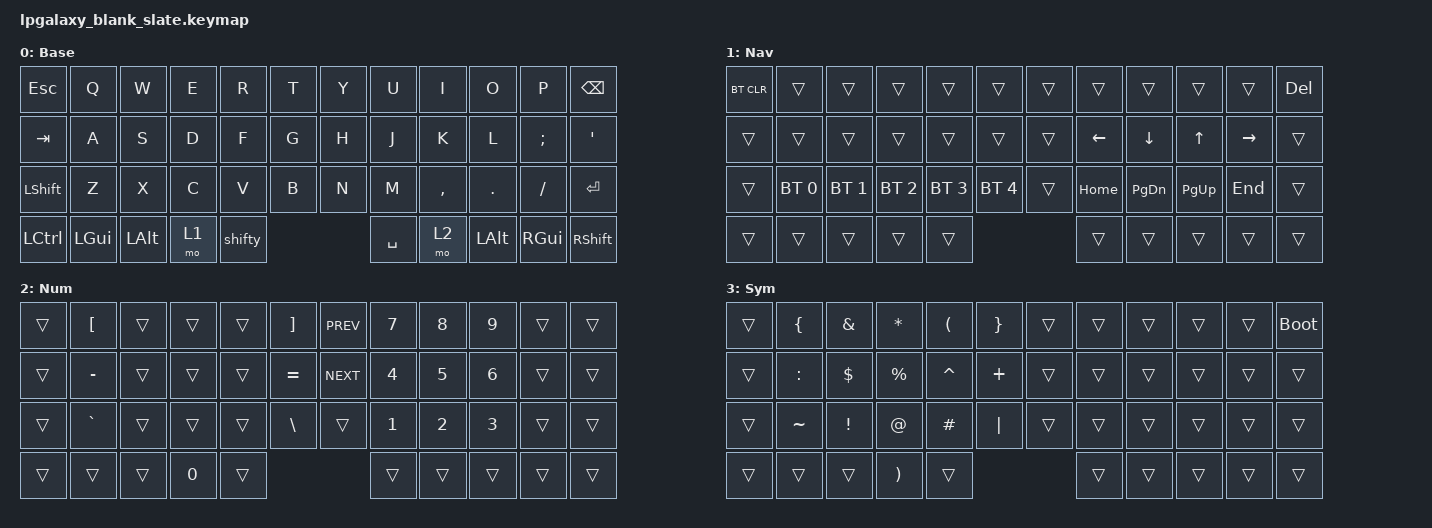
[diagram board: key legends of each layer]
/*
 * Copyright (c) 2022 Pete Johanson
 *
 * SPDX-License-Identifier: MIT
 */

#include <behaviors.dtsi>
#include <dt-bindings/zmk/keys.h>
#include <dt-bindings/zmk/bt.h>
#include <dt-bindings/zmk/outputs.h>

// Using layer taps on thumbs, having quick tap as well helps w/ repeating space/backspace
&lt { quick_tap_ms = <200>; };

/ {
    chosen {
       zmk,matrix_transform =
                       &dual_2u_transform;
    };

    macros {
      ZMK_MACRO(thumbs_up,
		wait-ms = <1>;
		tap-ms = <5>;
                bindings = <&kp PLUS &kp COLON &kp PLUS &kp N1 &kp COLON &kp RET>;
		)
    };
    
    tap_dances {
    	shifty: shift_caps_word {
		compatible = "zmk,behavior-tap-dance";
		label = "TD_SHIFTY";
		#binding-cells = <0>;
		tapping-term-ms = <150>;
		bindings = <&kp LSHFT>, <&caps_word>;
	};
    };

    cond_layers {
        compatible = "zmk,conditional-layers";
	tri {
	    if-layers = <1 2>;
	    then-layer = <3>;
        };
    };

    keymap {
        compatible = "zmk,keymap";
        base_layer {
            label = "Base";
            bindings = <
 &kp ESC    &kp Q      &kp W      &kp E       &kp R          &kp T          &kp Y            &kp U          &kp I       &kp O      &kp P         &kp BKSP
 &kp TAB    &kp A      &kp S      &kp D       &kp F          &kp G          &kp H            &kp J          &kp K       &kp L      &kp SEMI      &kp QUOT
 &kp LSHFT  &kp Z      &kp X      &kp C       &kp V          &kp B          &kp N            &kp M          &kp COMMA   &kp DOT    &kp FSLH      &kp RET
 &kp LCTRL  &kp LGUI   &kp LALT   &mo 1         &shifty                        &kp SPACE                &mo 2   &kp LALT   &kp RGUI      &kp RSHIFT
            >;
        };

        nav_layer {
            label = "Nav";
            bindings = <
&bt BT_CLR &trans     &trans     &trans      &trans          &trans       &trans     &trans         &trans      &trans     &trans     &kp DEL
&trans     &trans     &trans     &trans      &trans          &trans       &trans     &kp LEFT       &kp DOWN    &kp UP     &kp RIGHT  &trans
&trans     &bt BT_SEL 0  &bt BT_SEL 1  &bt BT_SEL 2   &bt BT_SEL 3       &bt BT_SEL 4    &trans     &kp HOME       &kp PG_DN   &kp PG_UP  &kp END    &trans
&trans  &trans        &trans     &trans              &trans                    &trans       &trans         &trans &trans &trans
            >;
        };

        num_layer {
            label = "Num";
            bindings = <
&trans     &kp LBKT   &trans &trans &trans    &kp RBKT    &kp C_PREV    &kp N7     &kp N8      &kp N9       &trans     &trans
&trans     &kp MINUS  &trans &trans &trans    &kp EQUAL   &kp C_NEXT    &kp N4     &kp N5      &kp N6       &trans     &trans
&trans     &kp GRAVE  &trans &trans &trans    &kp BSLH    &trans        &kp N1     &kp N2      &kp N3       &trans     &trans
&trans  &trans       &trans     &kp N0              &trans                 &trans            &trans         &trans &trans &trans
            >;
        };

        sym_layer {
            label = "Sym";
            bindings = <
&trans     &kp LBRC   &kp AMPS   &kp STAR    &kp LPAR     &kp RBRC     &trans     &trans    &trans       &trans       &trans     &bootloader
&trans     &kp COLON  &kp DLLR   &kp PRCNT   &kp CARET    &kp PLUS     &trans     &trans    &trans       &trans       &trans     &trans
&trans     &kp TILDE  &kp EXCL   &kp AT      &kp HASH     &kp PIPE     &trans     &trans    &trans       &trans       &trans     &trans
&trans &trans        &trans     &kp RPAR                &trans                    &trans       &trans         &trans &trans &trans
            >;
        };
    };
};

